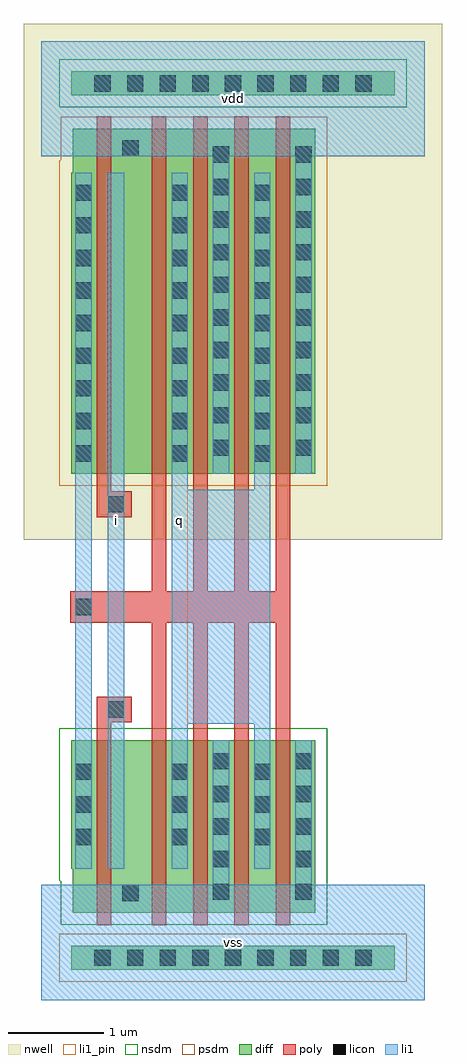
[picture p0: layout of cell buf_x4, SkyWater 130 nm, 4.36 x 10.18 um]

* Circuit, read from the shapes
.subckt buf_x4 i q vdd vss
XM1 vss i n1 VSUBS sky130_fd_pr__nfet_01v8 w=1.8 l=0.15
XM2 q n1 vss VSUBS sky130_fd_pr__nfet_01v8 w=1.8 l=0.15 m=4
XM3 vdd i n1 n2 sky130_fd_pr__pfet_01v8 w=3.6 l=0.15
XM4 q n1 vdd n2 sky130_fd_pr__pfet_01v8 w=3.6 l=0.15 m=4
.ends

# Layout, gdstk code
import gdstk
lib = gdstk.Library(unit=1e-6, precision=1e-09)
def R(c, l, rs):  # rectangles x0, y0, x1, y1
    for r in rs: c.add(gdstk.rectangle(r[:2], r[2:], *l))
def A(c, l, x, y, w, h, nx, ny, dx, dy):  # array of equal rectangles
    R(c, l, [(x+i*dx, y+j*dy, x+i*dx+w, y+j*dy+h) for i in range(nx) for j in range(ny)])
def P(c, l, *ps):  # polygons
    for p in ps: c.add(gdstk.Polygon(p, *l))
nwell = (64, 20)
diff = (65, 20)
poly = (66, 20)
licon = (66, 44)
li1_pin = (67, 16)
li1 = (67, 20)
nsdm = (93, 44)
psdm = (94, 20)

buf_x4 = lib.new_cell('buf_x4')
R(buf_x4, nwell, [(-0.18,4.8,4.18,10.18)])
R(buf_x4, diff, [(0.315,0.315,3.685,0.565), (0.315,9.435,3.685,9.685)])
P(buf_x4, diff, [(0.33,0.91),(0.33,1.37),(0.315,1.37),(0.315,2.71),(2.86,2.71),(2.86,0.91)],
  [(0.315,5.49),(0.315,8.63),(0.33,8.63),(0.33,9.09),(2.86,9.09),(2.86,5.49)])
P(buf_x4, poly, [(0.58,0.78),(0.58,3.165),(0.945,3.165),(0.945,2.895),(0.73,2.895),(0.73,0.78)],
  [(0.58,5.035),(0.58,9.22),(0.73,9.22),(0.73,5.305),(0.945,5.305),(0.945,5.035)],
  [(1.155,0.78),(1.155,3.935),(0.305,3.935),(0.305,4.265),(1.155,4.265),(1.155,9.22),(1.305,9.22),(1.305,4.265),(1.585,4.265),(1.585,9.22),(1.735,9.22),(1.735,4.265),(2.015,4.265),(2.015,9.22),(2.165,9.22),(2.165,4.265),(2.445,4.265),(2.445,9.22),(2.595,9.22),(2.595,0.78),(2.445,0.78),(2.445,3.935),(2.165,3.935),(2.165,0.78),(2.015,0.78),(2.015,3.935),(1.735,3.935),(1.735,0.78),(1.585,0.78),(1.585,3.935),(1.305,3.935),(1.305,0.78)])
A(buf_x4, licon, 0.555, 0.355, 0.17, 0.17, 9, 2, 0.34, 9.12)
A(buf_x4, licon, 1.79, 1.045, 0.17, 0.17, 1, 5, 0, 0.34)
A(buf_x4, licon, 2.65, 1.045, 0.17, 0.17, 1, 5, 0, 0.34)
A(buf_x4, licon, 0.355, 1.615, 0.17, 0.17, 1, 3, 0, 0.34)
A(buf_x4, licon, 1.36, 1.615, 0.17, 0.17, 1, 3, 0, 0.34)
A(buf_x4, licon, 2.22, 1.615, 0.17, 0.17, 1, 3, 0, 0.34)
A(buf_x4, licon, 0.355, 5.615, 0.17, 0.17, 1, 9, 0, 0.34)
A(buf_x4, licon, 1.36, 5.615, 0.17, 0.17, 1, 9, 0, 0.34)
A(buf_x4, licon, 2.22, 5.615, 0.17, 0.17, 1, 9, 0, 0.34)
A(buf_x4, licon, 1.79, 5.675, 0.17, 0.17, 1, 10, 0, 0.34)
A(buf_x4, licon, 2.65, 5.675, 0.17, 0.17, 1, 10, 0, 0.34)
R(buf_x4, licon, [(0.845,1.03,1.015,1.2), (0.695,2.945,0.865,3.115), (0.355,4.015,0.525,4.185), (0.695,5.085,0.865,5.255), (0.845,8.8,1.015,8.97)])
R(buf_x4, li1_pin, [(0,0,4,1.2), (0.695,1.37,0.865,8.63), (1.36,1.37,1.53,8.63), (0,8.8,4,10)])
R(buf_x4, li1, [(0.355,1.37,0.525,8.63), (0.695,1.37,0.865,8.63)])
P(buf_x4, li1, [(0,0),(0,1.2),(1.79,1.2),(1.79,2.71),(1.96,2.71),(1.96,1.2),(2.65,1.2),(2.65,2.71),(2.82,2.71),(2.82,1.2),(4,1.2),(4,0)],
  [(1.36,1.37),(1.36,8.63),(1.53,8.63),(1.53,5.32),(2.22,5.32),(2.22,8.63),(2.39,8.63),(2.39,1.37),(2.22,1.37),(2.22,2.88),(1.53,2.88),(1.53,1.37)],
  [(1.79,5.49),(1.79,8.8),(0,8.8),(0,10),(4,10),(4,8.8),(2.82,8.8),(2.82,5.49),(2.65,5.49),(2.65,8.8),(1.96,8.8),(1.96,5.49)])
R(buf_x4, nsdm, [(0.19,9.31,3.81,9.81)])
P(buf_x4, nsdm, [(0.205,0.785),(0.205,1.245),(0.19,1.245),(0.19,2.835),(2.985,2.835),(2.985,0.785)])
R(buf_x4, psdm, [(0.19,0.19,3.81,0.69)])
P(buf_x4, psdm, [(0.19,5.365),(0.19,8.755),(0.205,8.755),(0.205,9.215),(2.985,9.215),(2.985,5.365)])
buf_x4.add(gdstk.Label('vdd', (2,9.4), layer=67, texttype=16))
buf_x4.add(gdstk.Label('vss', (2,0.6), layer=67, texttype=16))
buf_x4.add(gdstk.Label('i', (0.78,5), layer=67, texttype=16))
buf_x4.add(gdstk.Label('q', (1.445,5), layer=67, texttype=16))
buf_x4.add(gdstk.Label('vdd', (2,9.4), layer=67, texttype=16))
buf_x4.add(gdstk.Label('vss', (2,0.6), layer=67, texttype=16))
buf_x4.add(gdstk.Label('i', (0.78,5), layer=67, texttype=16))
buf_x4.add(gdstk.Label('q', (1.445,5), layer=67, texttype=16))

lib.write_gds('buf_x4.gds')
